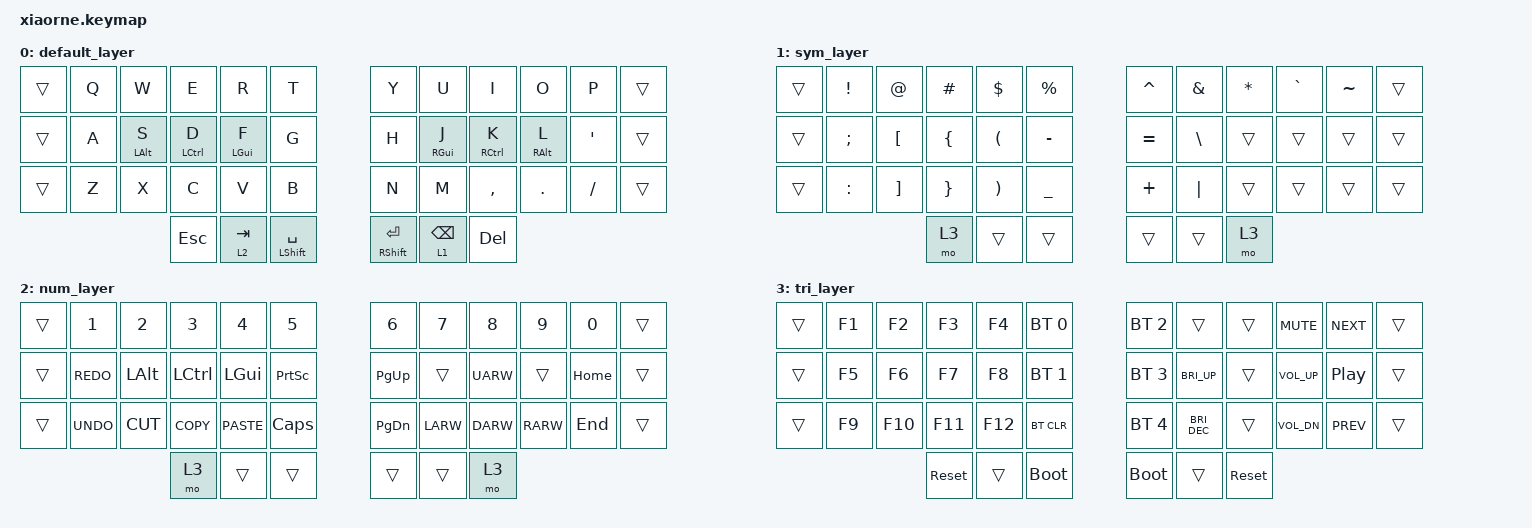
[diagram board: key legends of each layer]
/*
 * Copyright (c) 2020 The ZMK Contributors
 *
 * SPDX-License-Identifier: MIT
 */

#include <behaviors.dtsi>
#include <dt-bindings/zmk/keys.h>
#include <dt-bindings/zmk/bt.h>

&lt {
        #binding-cells = <2>;
        tapping-term-ms = <200>;
        quick-tap-ms = <0>;
        flavor = "tap-preferred";
};

/ {
    behaviors {
        hm: homerow_mods {
            compatible = "zmk,behavior-hold-tap";
            label = "HOMEROW_MODS";
            #binding-cells = <2>;
            tapping-term-ms = <200>;
            quick-tap-ms = <0>;
            flavor = "tap-preferred";
            bindings = <&kp>, <&kp>;
        };
    };

    conditional_layers {
        compatible = "zmk,conditional-layers";
        lf_rst_layer {
            if-layers = <1 2>;
            then-layer = <3>;
        };
    };

    keymap {
                compatible = "zmk,keymap";

                default_layer {
// ----------////------------------------------------------------------------------------------
// |  Q  |  W  |  E  |  R  |  T  |   |  Y  |  U   |  I  |  O  |  P  |
// |  A  |  S  |  D  |  F  |  G  |   |  H  |  J   |  K  |  L  |  '  |
// |  Z  |  X  |  C  |  V  |  B  |   |  N  |  M   |  ,  |  .  |  /  |
//                    | ALT | LWR | SPC |   | ENT | RSE  | GUI |
                        bindings = <
        &trans &kp Q  &kp W      &kp E          &kp R       &kp T               &kp Y          &kp U        &kp I        &kp O       &kp P     &trans 
        &trans &kp A  &hm LALT S &hm LCTRL D    &hm LGUI F  &kp G               &kp H          &hm RGUI J   &hm RCTRL K  &hm RALT L  &kp SQT   &trans
        &trans &kp Z  &kp X      &kp C          &kp V       &kp B               &kp N          &kp M        &kp COMMA    &kp DOT     &kp FSLH  &trans
                          &kp ESC        &lt 2 TAB   &hm LSHFT SPACE     &hm RSHFT RET  &lt 1 BSPC   &kp DEL  
                        >;
                };
                sym_layer {
                        bindings = <
        //╭──────────┬──────────┬──────────┬──────────┬──────────╮   ╭──────────┬──────────┬──────────┬──────────┬──────────╮
        //│  !       │  @       │  #       │  $       │  %       │   │  ^       │  &       │  *       │  `       │  ~       │
&trans      &kp EXCL   &kp AT     &kp HASH   &kp DLLR   &kp PRCNT      &kp CARET  &kp AMPS   &kp ASTRK  &kp GRAVE   &kp TILDE &trans
        //├──────────┼──────────┼──────────┼──────────┼──────────┤   ├──────────┼──────────┼──────────┼──────────┼──────────┤
        //│    ;     │  [       │  {       │  (       │  -       │   │  =       │  \       │          │          │          │
&trans      &kp SEMI   &kp LBKT   &kp LBRC   &kp LPAR   &kp MINUS      &kp EQUAL  &kp BSLH   &trans     &trans     &trans     &trans
        //├──────────┼──────────┼──────────┼──────────┼──────────┤   ├──────────┼──────────┼──────────┼──────────┼──────────┤ 
        //│    :     │  ]       │  }       │  )       │  _       │   │  +       │  |       │          │          │          │
&trans      &kp COLON  &kp RBKT   &kp RBRC   &kp RPAR   &kp UNDER      &kp PLUS   &kp PIPE   &trans     &trans     &trans     &trans
        //╰──────────┴──────────┴──────────┼──────────┼──────────┤   ├──────────┼──────────┼──────────┴──────────┴──────────╯
                                   &mo 3     &trans     &trans         &trans     &trans     &mo 3
        //                      ╰──────────┴──────────┴──────────╯   ╰──────────┴──────────┴──────────╯
            >;
        };
                num_layer  {
                        bindings = <
        //╭──────────┬──────────┬──────────┬──────────┬──────────╮   ╭──────────┬──────────┬──────────┬──────────┬──────────╮
        //│ 1        │  2       │  3       │  4       │  5       │   │ 6        │ 7        │ 8        │ 9        │   0      │
&trans      &kp N1    &kp N2     &kp N3     &kp N4     &kp N5          &kp N6     &kp N7     &kp N8     &kp N9      &kp N0   &trans
        //├──────────┼──────────┼──────────┼──────────┼──────────┤   ├──────────┼──────────┼──────────┼──────────┼──────────┤
        //│ REDO     │          │          │          │          |   | PAGE UP  │          │ UP       │          │  HOME    │
&trans    &kp K_REDO  &kp LALT   &kp LCTRL  &kp LGUI  &kp PSCRN      &kp PG_UP   &trans    &kp UARW   &trans     &kp HOME    &trans
        //├──────────┼──────────┼──────────┼──────────┼──────────┤   ├──────────┼──────────┼──────────┼──────────┼──────────┤
        //│ UNDO     │   CUT    │   COPY   │  PASTE   |          │   │ PAGE DOWN│ LEFT     │ DOWN     │ RIGHT    │ END      │
&trans     &kp K_UNDO &kp K_CUT  &kp K_COPY &kp K_PASTE &kp CAPS         &kp PG_DN  &kp LARW   &kp DARW   &kp RARW   &kp END  &trans
        //╰──────────┴──────────┴──────────┼──────────┼──────────┤   ├──────────┼──────────┼──────────┴──────────┴──────────╯
                                   &mo 3     &trans     &trans         &trans     &trans     &mo 3
        //                      ╰──────────┴──────────┴──────────╯   ╰──────────┴──────────┴──────────╯
            >;
        };
                tri_layer {
                        bindings = <     
        //╭──────────┬──────────┬──────────┬───────────┬────────────╮   ╭────────────┬────────────┬──────────┬───────────┬──────────╮
        //│  F1      │  F2      │  F3      │  F4       │ PROFILE 0  │   │ PROFILE 2  │ TOGGLEOUT  │ WINDOWS  │ VOL MUTE  │ NEXTSONG │
&trans      &kp F1     &kp F2     &kp F3     &kp F4     &bt BT_SEL 0     &bt BT_SEL 2  &trans        &trans   &kp C_MUTE  &kp C_NEXT  &trans
        //├──────────┼──────────┼──────────┼───────────┼────────────┤   ├────────────┼────────────┼──────────┼───────────┼──────────┤
        //│  F5      │  F6      │  F7      │  F8       │ PROFILE 1  │   │ PROFILE 3  │ INC BRIGHT │          │  VOL UP   │PAUSEMUSIC│
 &trans     &kp F5     &kp F6     &kp F7     &kp F8     &bt BT_SEL 1     &bt BT_SEL 3  &kp C_BRI_UP  &trans   &kp C_VOL_UP  &kp C_PP  &trans
        //├──────────┼──────────┼──────────┼───────────┼────────────┤   ├────────────┼────────────┼──────────┼───────────┼──────────┤
        //│  F9      │  F10     │  F11     │  F12      │  CLEAR BT  │   │ PROFILE 4  │ DEC BRIGHT │          |  VOL DOWN │ PREVSONG │
&trans     &kp F9     &kp F10    &kp F11    &kp F12     &bt BT_CLR      &bt BT_SEL 4  &kp C_BRI_DEC  &trans   &kp C_VOL_DN &kp C_PREV &trans
        //╰──────────┴──────────┴──────────┼───────────┼────────────┤   ├────────────┼────────────┼──────────┴───────────┴──────────╯
                                 &sys_reset   &trans    &bootloader       &bootloader   &trans     &sys_reset 
        //                      ╰──────────┴───────────┴────────────╯   ╰────────────┴────────────┴──────────╯

                        >;     
                };
        };
};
